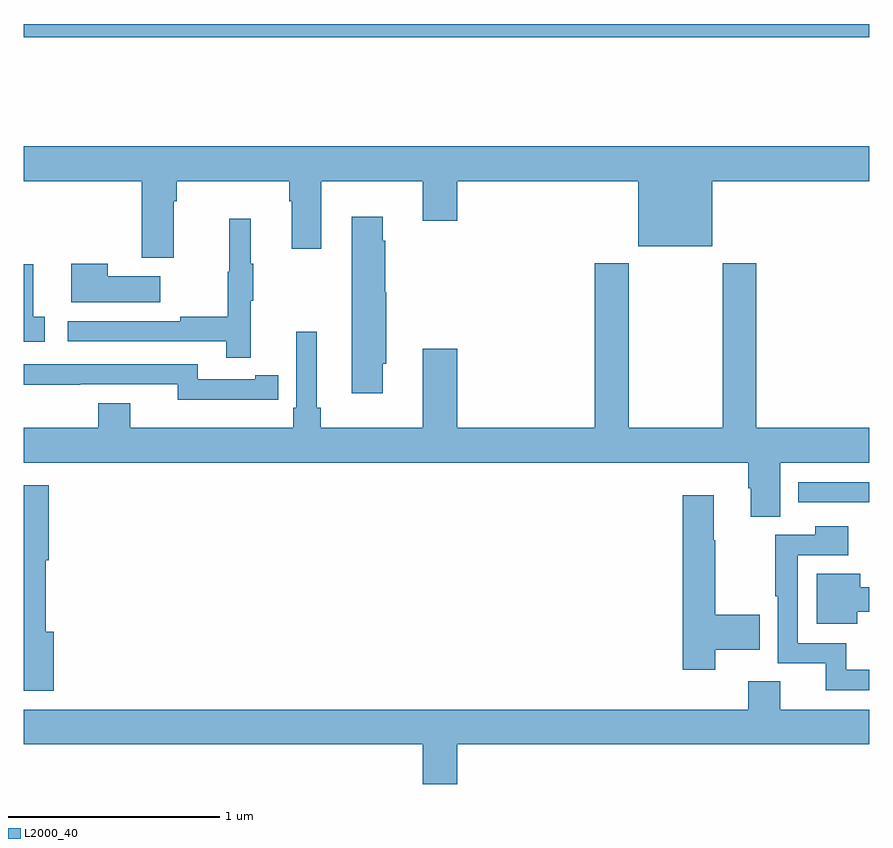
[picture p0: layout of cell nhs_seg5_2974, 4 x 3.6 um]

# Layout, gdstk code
import gdstk
lib = gdstk.Library(unit=1e-6, precision=1e-09)
def R(c, l, rs):  # rectangles x0, y0, x1, y1
    for r in rs: c.add(gdstk.rectangle(r[:2], r[2:], *l))
def P(c, l, *ps):  # polygons
    for p in ps: c.add(gdstk.Polygon(p, *l))
L2000_40 = (2000, 40)

nhs_seg5_2974 = lib.new_cell('nhs_seg5_2974')
R(nhs_seg5_2974, L2000_40, [(286.664,892.536,287,892.632), (283,894.736,287,894.799)])
P(nhs_seg5_2974, L2000_40, [(283.711,893.96),(283.724,893.96),(283.724,894.056),(284.255,894.056),(284.255,893.96),(284.267,893.96),(284.267,893.736),(284.407,893.736),(284.407,894.056),(284.888,894.056),(284.888,893.868),(285.052,893.868),(285.052,894.056),(285.908,894.056),(285.908,893.747),(286.258,893.747),(286.258,894.056),(287,894.056),(287,894.22),(283,894.22),(283,894.056),(283.559,894.056),(283.559,893.694),(283.711,893.694)],
  [(284.698,893.193),(284.716,893.193),(284.716,893.529),(284.711,893.529),(284.711,893.774),(284.698,893.774),(284.698,893.887),(284.552,893.887),(284.552,893.052),(284.698,893.052)],
  [(284.075,893.491),(284.086,893.491),(284.086,893.665),(284.075,893.665),(284.075,893.878),(283.972,893.878),(283.972,893.628),(283.965,893.628),(283.965,893.414),(283.741,893.414),(283.741,893.394),(283.209,893.394),(283.209,893.298),(283.957,893.298),(283.957,893.22),(284.075,893.22)],
  [(286.579,892.724),(287,892.724),(287,892.888),(286.466,892.888),(286.466,893.668),(286.306,893.668),(286.306,892.888),(285.861,892.888),(285.861,893.668),(285.701,893.668),(285.701,892.888),(285.052,892.888),(285.052,893.263),(284.888,893.263),(284.888,892.888),(284.405,892.888),(284.405,892.984),(284.386,892.984),(284.386,893.344),(284.289,893.344),(284.289,892.984),(284.276,892.984),(284.276,892.888),(283.504,892.888),(283.504,893.005),(283.352,893.005),(283.352,892.888),(283,892.888),(283,892.724),(286.427,892.724),(286.427,892.602),(286.439,892.602),(286.439,892.468),(286.579,892.468)],
  [(283.645,893.605),(283.397,893.605),(283.397,893.665),(283.226,893.665),(283.226,893.483),(283.645,893.483)],
  [(283.099,893.415),(283.046,893.415),(283.046,893.662),(283,893.662),(283,893.295),(283.099,893.295)],
  [(284.096,893.022),(284.204,893.022),(284.204,893.138),(284.096,893.138),(284.096,893.118),(283.824,893.118),(283.824,893.19),(283,893.19),(283,893.093),(283.268,893.093),(283.268,893.094),(283.728,893.094),(283.728,893.021),(284.096,893.021)],
  [(283.142,891.924),(283.105,891.924),(283.105,892.262),(283.118,892.262),(283.118,892.618),(283,892.618),(283,891.645),(283.142,891.645)],
  [(286.272,891.839),(286.481,891.839),(286.481,892.005),(286.272,892.005),(286.272,892.357),(286.264,892.357),(286.264,892.57),(286.118,892.57),(286.118,891.744),(286.272,891.744)],
  [(287,891.744),(286.891,891.744),(286.891,891.87),(286.662,891.87),(286.662,892.287),(286.9,892.287),(286.9,892.423),(286.744,892.423),(286.744,892.383),(286.554,892.383),(286.554,892.093),(286.566,892.093),(286.566,891.774),(286.793,891.774),(286.793,891.648),(287,891.648)],
  [(286.942,892.019),(287,892.019),(287,892.135),(286.957,892.135),(286.957,892.198),(286.751,892.198),(286.751,891.962),(286.942,891.962)],
  [(285.052,891.392),(287,891.392),(287,891.556),(286.579,891.556),(286.579,891.689),(286.427,891.689),(286.427,891.556),(283,891.556),(283,891.392),(284.888,891.392),(284.888,891.204),(285.052,891.204)])

lib.write_gds('nhs_seg5_2974.gds')
